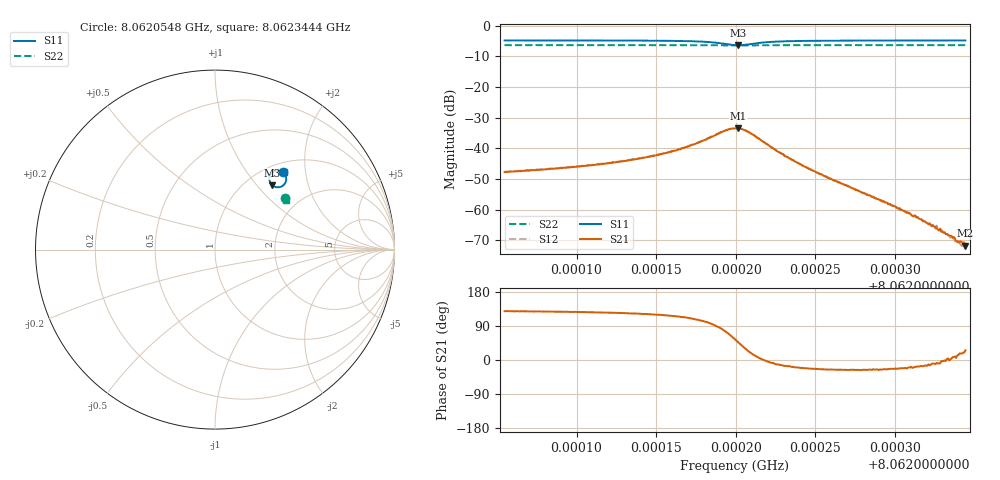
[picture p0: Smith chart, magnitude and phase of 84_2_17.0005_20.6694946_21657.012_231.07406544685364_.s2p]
#  HZ  S  RI  R  50.00
! Rohde & Schwarz Vector Network Analyzer
! Rohde-Schwarz,ZNB20-2Port,1311601062101988,3.16
! Created: UTC 3/20/2024, 10:55:51 PM
! freq[Hz]  re:S11  im:S11  re:S21  im:S21  re:S12  im:S12  re:S22  im:S22
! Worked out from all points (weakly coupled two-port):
!   401 points, 8.0620548 GHz to 8.0623444 GHz, reference 50 ohm
!   highest |S21| = -33.46 dB at 8.0622018 GHz (marker M1); lowest = -71.8 dB at 8.0623444 GHz (marker M2)
!   lowest |S11| = -6.4 dB at 8.0622018 GHz (marker M3), VSWR 2.85, Z = 64.8 + j60.5 ohm
!   |S11| at or under -10 dB: nowhere
!   |S22| runs from -6.4 to -6.3 dB; largest |S21 - S12| = 0.0017
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8.06205483e9  0.3805 0.4317  -0.00256 0.00318  -0.00241 0.00338  0.3876 0.287
8.06210332e9  0.386 0.4255  -0.00305 0.00408  -0.00282 0.00436  0.3894 0.2844
8.06212721e9  0.3897 0.4205  -0.00338 0.00501  -0.00313 0.00525  0.3902 0.283
8.06215182e9  0.3943 0.4112  -0.00384 0.00687  -0.00345 0.00716  0.391 0.2814
8.0621663e9  0.3969 0.4002  -0.00399 0.0092  -0.00347 0.00947  0.3914 0.2803
8.06217426e9  0.3972 0.3905  -0.00358 0.0112  -0.00295 0.0115  0.3916 0.2794
8.06218439e9  0.391 0.3708  -0.00165 0.0151  -0.000627 0.0154  0.3913 0.2782
8.06219453e9  0.3596 0.348  0.00595 0.0189  0.00731 0.0187  0.3898 0.2772
8.06219959e9  0.3302 0.3515  0.0123 0.0172  0.0136 0.0165  0.3888 0.2777
8.06220176e9  0.3185 0.3592  0.0148 0.0153  0.0156 0.0143  0.3885 0.2781
8.06220755e9  0.3032 0.3906  0.017 0.00793  0.0176 0.00664  0.3885 0.2795
8.06221841e9  0.3199 0.4304  0.0123 -0.000237  0.0123 -0.00106  0.39 0.2804
8.06223216e9  0.3437 0.4409  0.007 -0.00203  0.00689 -0.00243  0.3917 0.2798
8.06224809e9  0.3582 0.4407  0.00403 -0.00171  0.00397 -0.00195  0.393 0.2788
8.06229658e9  0.3747 0.4349  0.00113 -0.000502  0.0011 -0.000565  0.395 0.2761
8.06230455e9  0.3761 0.4341  0.000906 -0.000366  0.000933 -0.000429  0.3952 0.2756
8.06231396e9  0.3777 0.433  0.000709 -0.000226  0.000703 -0.000277  0.3956 0.2751
8.06232409e9  0.3792 0.4321  0.000548 -9.41e-05  0.00051 -0.000123  0.3959 0.2746
8.06232771e9  0.3797 0.4318  0.000447 -7.15e-05  0.00048 -0.00013  0.396 0.2743
8.06233712e9  0.3808 0.4309  0.000353 4.86e-05  0.000342 7.62e-06  0.3964 0.274
8.06234074e9  0.3813 0.4308  0.000282 8.84e-05  0.000275 5.95e-05  0.3966 0.2738
8.06234436e9  0.3817 0.4305  0.000233 0.00011  0.00025 0.000114  0.3967 0.2736
